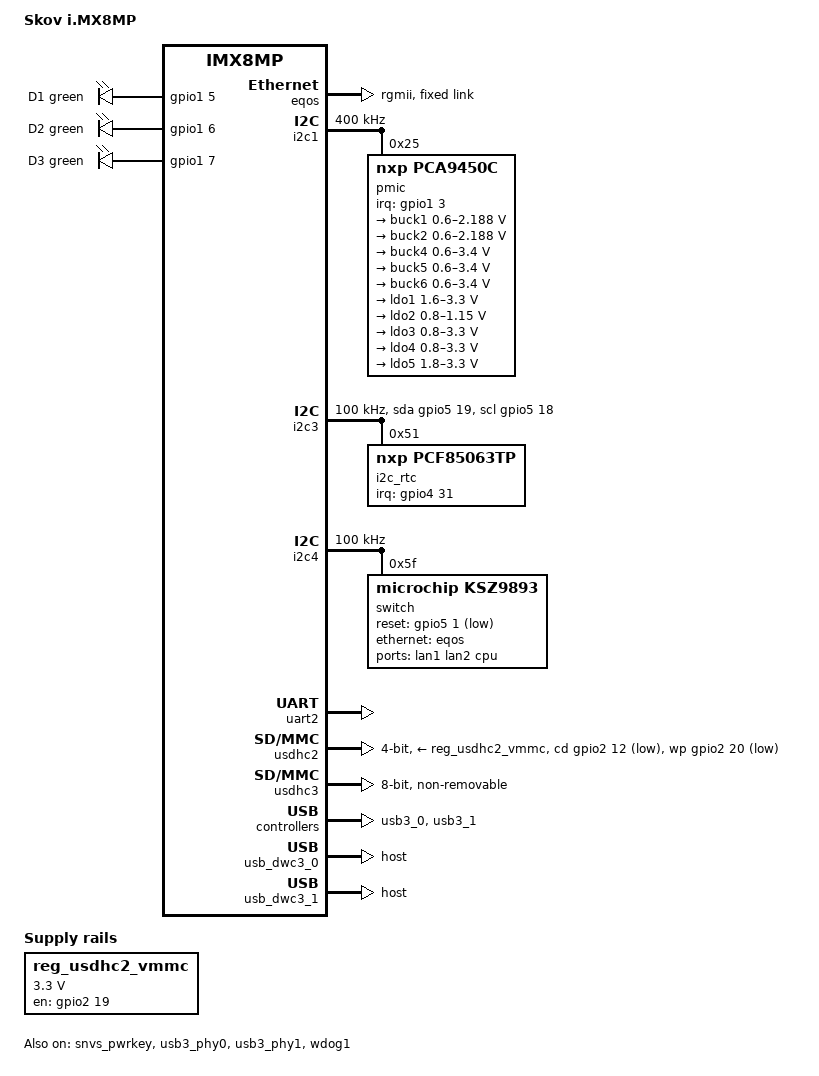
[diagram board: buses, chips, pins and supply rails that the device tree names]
// SPDX-License-Identifier: (GPL-2.0 OR MIT)

/dts-v1/;

#include <arm64/freescale/imx8mp.dtsi>
#include "imx8mp.dtsi"
#include <arm64/freescale/imx8mp-nominal.dtsi>

#include <dt-bindings/leds/common.h>

/ {
	model = "Skov i.MX8MP";
	compatible = "skov,imx8mp", "fsl,imx8mp";
	barebox,deep-probe;

	chosen {
		stdout-path = &uart2;

		environment-sd {
			compatible = "barebox,environment";
			device-path = &usdhc2, "partname:barebox-environment";
			status = "disabled";
		};

		environment-emmc {
			compatible = "barebox,environment";
			device-path = &usdhc3, "partname:barebox-environment";
			status = "disabled";
		};
	};

	aliases {
		ethernet0 = &eqos;
		ethernet1 = &lan1;
		ethernet2 = &lan2;
		state = &state;
		rtc0 = &i2c_rtc;
	};

	leds {
		compatible = "gpio-leds";
		pinctrl-names = "default";
		pinctrl-0 = <&pinctrl_gpio_led>;

		led-0 {
			label = "D1";
			color = <LED_COLOR_ID_GREEN>;
			gpios = <&gpio1 5 GPIO_ACTIVE_HIGH>;
			function = LED_FUNCTION_STATUS;
			default-state = "on";
			linux,default-trigger = "heartbeat";
		};

		led-1 {
			label = "D2";
			color = <LED_COLOR_ID_GREEN>;
			gpios = <&gpio1 6 GPIO_ACTIVE_HIGH>;
			default-state = "off";
		};

		led-2 {
			label = "D3";
			color = <LED_COLOR_ID_GREEN>;
			gpios = <&gpio1 7 GPIO_ACTIVE_HIGH>;
			default-state = "on";
		};
	};

	reserved-memory {
		#address-cells = <2>;
		#size-cells = <2>;
		ranges;

		/* Address will be determined by the bootloader */
		ramoops {
			compatible = "ramoops";
		};
	};

	reg_usdhc2_vmmc: regulator-usdhc2 {
		compatible = "regulator-fixed";
		pinctrl-names = "default";
		pinctrl-0 = <&pinctrl_reg_usdhc2_vmmc>;
		regulator-name = "VSD_3V3";
		regulator-min-microvolt = <3300000>;
		regulator-max-microvolt = <3300000>;
		gpio = <&gpio2 19 GPIO_ACTIVE_HIGH>;
		enable-active-high;
	};

	state: state {
		#address-cells = <1>;
		#size-cells = <1>;
		magic = <0x1c5b3f49>;
		compatible = "barebox,state";
		backend-type = "raw";
		backend = <&usdhc3>;
                /*
                 * barebox-state partition size: 1 MiB
                 * nr. of redundant copies:      4
                 * ==> max. stride size: 1 MiB / 4 = 256 KiB = 262144 Byte
                 *
                 * stride size:     262144 Byte
                 * raw-header:     -    16 Byte
                 * direct-storage: -     8 Byte
                 *                 ------------
                 * max state size:  262120 Byte
                 *                  ===========
                 */
		backend-stridesize = <0x40000>;

		bootstate {
			#address-cells = <1>;
			#size-cells = <1>;

			system0 {
				#address-cells = <1>;
				#size-cells = <1>;

				remaining_attempts@0 {
					reg = <0x0 0x4>;
					type = "uint32";
					default = <3>;
				};
				priority@4 {
					reg = <0x4 0x4>;
					type = "uint32";
					default = <30>;
				};
			};

			system1 {
				#address-cells = <1>;
				#size-cells = <1>;

				remaining_attempts@8 {
					reg = <0x8 0x4>;
					type = "uint32";
					default = <3>;
				};
				priority@C {
					reg = <0xC 0x4>;
					type = "uint32";
					default = <20>;
				};
			};

			last_chosen@10 {
				reg = <0x10 0x4>;
				type = "uint32";
			};
		};

		display {
			#address-cells = <1>;
			#size-cells = <1>;

			xres@14 {
				reg = <0x14 0x4>;
				type = "uint32";
				default = <0>;
			};

			yres@18 {
				reg = <0x18 0x4>;
				type = "uint32";
				default = <0>;
			};

			brightness@1C {
				reg = <0x1C 0x1>;
				type = "uint8";
				default = <8>;
			};

			external@1D {
				reg = <0x1D 0x1>;
				type = "uint8";
				default = <0>;
			};
		};

		ethaddr {
			#address-cells = <1>;
			#size-cells = <1>;

			eth2@1e {
				reg = <0x1E 0x6>;
				type = "mac";
				default = [00 11 22 33 44 55];
			};
		};
	};
};

&A53_0 {
	cpu-supply = <&buck2>;
};

&A53_1 {
	cpu-supply = <&buck2>;
};

&A53_2 {
	cpu-supply = <&buck2>;
};

&A53_3 {
	cpu-supply = <&buck2>;
};

&eqos {
	pinctrl-names = "default";
	pinctrl-0 = <&pinctrl_eqos>;
	phy-connection-type = "rgmii";
	status = "okay";

	fixed-link {
		speed = <1000>;
		full-duplex;
	};
};

&i2c1 {
	clock-frequency = <400000>;
	pinctrl-names = "default";
	pinctrl-0 = <&pinctrl_i2c1>;
	status = "okay";

	pmic@25 {
		compatible = "nxp,pca9450c";
		reg = <0x25>;
		pinctrl-names = "default";
		pinctrl-0 = <&pinctrl_pmic>;
		interrupt-parent = <&gpio1>;
		interrupts = <3 IRQ_TYPE_EDGE_RISING>;
		reset-source-priority = <500>;

		regulators {
			buck1: BUCK1 {
				regulator-name = "BUCK1";
				regulator-min-microvolt = <600000>;
				regulator-max-microvolt = <2187500>;
				regulator-boot-on;
				regulator-always-on;
				regulator-ramp-delay = <3125>;
			};

			buck2: BUCK2 {
				regulator-name = "BUCK2";
				regulator-min-microvolt = <600000>;
				regulator-max-microvolt = <2187500>;
				regulator-boot-on;
				regulator-always-on;
				regulator-ramp-delay = <3125>;
				nxp,dvs-run-voltage = <950000>;
				nxp,dvs-standby-voltage = <850000>;
			};

			buck4: BUCK4 {
				regulator-name = "BUCK4";
				regulator-min-microvolt = <600000>;
				regulator-max-microvolt = <3400000>;
				regulator-boot-on;
				regulator-always-on;
			};

			buck5: BUCK5 {
				regulator-name = "BUCK5";
				regulator-min-microvolt = <600000>;
				regulator-max-microvolt = <3400000>;
				regulator-boot-on;
				regulator-always-on;
			};

			buck6: BUCK6 {
				regulator-name = "BUCK6";
				regulator-min-microvolt = <600000>;
				regulator-max-microvolt = <3400000>;
				regulator-boot-on;
				regulator-always-on;
			};

			ldo1: LDO1 {
				regulator-name = "LDO1";
				regulator-min-microvolt = <1600000>;
				regulator-max-microvolt = <3300000>;
				regulator-boot-on;
				regulator-always-on;
			};

			ldo2: LDO2 {
				regulator-name = "LDO2";
				regulator-min-microvolt = <800000>;
				regulator-max-microvolt = <1150000>;
				regulator-boot-on;
				regulator-always-on;
			};

			ldo3: LDO3 {
				regulator-name = "LDO3";
				regulator-min-microvolt = <800000>;
				regulator-max-microvolt = <3300000>;
				regulator-boot-on;
				regulator-always-on;
			};

			ldo4: LDO4 {
				regulator-name = "LDO4";
				regulator-min-microvolt = <800000>;
				regulator-max-microvolt = <3300000>;
				regulator-boot-on;
				regulator-always-on;
			};

			ldo5: LDO5 {
				regulator-name = "LDO5";
				regulator-min-microvolt = <1800000>;
				regulator-max-microvolt = <3300000>;
				regulator-boot-on;
				regulator-always-on;
			};
		};
	};
};

&i2c3 {
	clock-frequency = <100000>;
	pinctrl-names = "default", "gpio";
	pinctrl-0 = <&pinctrl_i2c3>;
	pinctrl-1 = <&pinctrl_i2c3_gpio>;
	scl-gpios = <&gpio5 18 (GPIO_ACTIVE_HIGH | GPIO_OPEN_DRAIN)>;
	sda-gpios = <&gpio5 19 (GPIO_ACTIVE_HIGH | GPIO_OPEN_DRAIN)>;
	status = "okay";

	i2c_rtc: rtc@51 {
		compatible = "nxp,pcf85063tp";
		reg = <0x51>;
		pinctrl-names = "default";
		pinctrl-0 = <&pinctrl_rtc>;
		interrupts-extended = <&gpio4 31 IRQ_TYPE_EDGE_FALLING>;
		quartz-load-femtofarads = <12500>;
	};
};

&i2c4 {
	clock-frequency = <100000>;
	pinctrl-names = "default";
	pinctrl-0 = <&pinctrl_i2c4>;
	status = "okay";

	switch@5f {
		compatible = "microchip,ksz9893";
		pinctrl-names = "default";
		pinctrl-0 = <&pinctrl_switch>;
		reset-gpios = <&gpio5 1 GPIO_ACTIVE_LOW>;
		reg = <0x5f>;

		ethernet-ports {
			#address-cells = <1>;
			#size-cells = <0>;

			lan1: port@0 {
				reg = <0>;
				phy-mode = "internal";
				label = "lan1";
				nvmem-cells = <&eth_mac1>;
				nvmem-cell-names = "mac-address";
			};

			lan2: port@1 {
				reg = <1>;
				phy-mode = "internal";
				label = "lan2";
				nvmem-cells = <&eth_mac2>;
				nvmem-cell-names = "mac-address";
			};

			port@2 {
				reg = <2>;
				label = "cpu";
				ethernet = <&eqos>;
				/* 2ns rgmii-rxid is implemented on PCB.
				 * Switch should add only rgmii-txid.
				 */
				phy-mode = "rgmii-txid";

				fixed-link {
					speed = <1000>;
					full-duplex;
				};
			};
		};
	};
};

&snvs_pwrkey {
	status = "okay";
};

&uart2 {
	/* console */
	pinctrl-names = "default";
	pinctrl-0 = <&pinctrl_uart2>;
	status = "okay";
};

/* SD Card */
&usdhc2 {
	pinctrl-names = "default", "state_100mhz", "state_200mhz";
	pinctrl-0 = <&pinctrl_usdhc2>, <&pinctrl_usdhc2_gpio>;
	pinctrl-1 = <&pinctrl_usdhc2_100mhz>, <&pinctrl_usdhc2_gpio>;
	pinctrl-2 = <&pinctrl_usdhc2_200mhz>, <&pinctrl_usdhc2_gpio>;
	cd-gpios = <&gpio2 12 GPIO_ACTIVE_LOW>;
	wp-gpios = <&gpio2 20 GPIO_ACTIVE_LOW>;
	vmmc-supply = <&reg_usdhc2_vmmc>;
	bus-width = <4>;
	status = "okay";
};

/* eMMC */
&usdhc3 {
	assigned-clocks = <&clk IMX8MP_CLK_USDHC3>;
	assigned-clock-rates = <400000000>;
	pinctrl-names = "default", "state_100mhz", "state_200mhz";
	pinctrl-0 = <&pinctrl_usdhc3>;
	pinctrl-1 = <&pinctrl_usdhc3_100mhz>;
	pinctrl-2 = <&pinctrl_usdhc3_200mhz>;
	bus-width = <8>;
	no-sd;
	no-sdio;
	non-removable;
	status = "okay";
};

&usb3_phy0 {
	status = "okay";
};

&usb3_0 {
	status = "okay";
};

&usb_dwc3_0 {
	dr_mode = "host";
	status = "okay";
};

&usb3_phy1 {
	status = "okay";
};

&usb3_1 {
	status = "okay";
};

&usb_dwc3_1 {
	dr_mode = "host";
	status = "okay";
};

&wdog1 {
	pinctrl-names = "default";
	pinctrl-0 = <&pinctrl_wdog>;
	fsl,ext-reset-output;
	status = "okay";
};

&iomuxc {
	pinctrl-names = "default";
	pinctrl-0 = <&pinctrl_hog>;

	pinctrl_hog: hoggrp {
		fsl,pins = <
			/* varaint id */
			MX8MP_IOMUXC_GPIO1_IO08__GPIO1_IO08				0x100
			MX8MP_IOMUXC_GPIO1_IO09__GPIO1_IO09				0x100
			MX8MP_IOMUXC_GPIO1_IO10__GPIO1_IO10				0x100
			MX8MP_IOMUXC_GPIO1_IO11__GPIO1_IO11				0x100
			MX8MP_IOMUXC_GPIO1_IO12__GPIO1_IO12				0x100
			MX8MP_IOMUXC_GPIO1_IO13__GPIO1_IO13				0x100
			MX8MP_IOMUXC_GPIO1_IO14__GPIO1_IO14				0x100
			MX8MP_IOMUXC_GPIO1_IO15__GPIO1_IO15				0x100
		>;
	};

	pinctrl_eqos: eqosgrp {
		fsl,pins = <
			MX8MP_IOMUXC_ENET_RD0__ENET_QOS_RGMII_RD0			0x91
			MX8MP_IOMUXC_ENET_RD1__ENET_QOS_RGMII_RD1			0x91
			MX8MP_IOMUXC_ENET_RD2__ENET_QOS_RGMII_RD2			0x91
			MX8MP_IOMUXC_ENET_RD3__ENET_QOS_RGMII_RD3			0x91
			MX8MP_IOMUXC_ENET_RXC__CCM_ENET_QOS_CLOCK_GENERATE_RX_CLK	0x91
			MX8MP_IOMUXC_ENET_RX_CTL__ENET_QOS_RGMII_RX_CTL			0x91
			MX8MP_IOMUXC_ENET_TD0__ENET_QOS_RGMII_TD0			0x1f
			MX8MP_IOMUXC_ENET_TD1__ENET_QOS_RGMII_TD1			0x1f
			MX8MP_IOMUXC_ENET_TD2__ENET_QOS_RGMII_TD2			0x1f
			MX8MP_IOMUXC_ENET_TD3__ENET_QOS_RGMII_TD3			0x1f
			MX8MP_IOMUXC_ENET_TX_CTL__ENET_QOS_RGMII_TX_CTL			0x1f
			MX8MP_IOMUXC_ENET_TXC__CCM_ENET_QOS_CLOCK_GENERATE_TX_CLK	0x1f
		>;
	};

	pinctrl_gpio_led: gpioledgrp {
		fsl,pins = <
			MX8MP_IOMUXC_GPIO1_IO05__GPIO1_IO05				0x19
			MX8MP_IOMUXC_GPIO1_IO06__GPIO1_IO06				0x19
			MX8MP_IOMUXC_GPIO1_IO07__GPIO1_IO07				0x19
		>;
	};

	pinctrl_i2c1: i2c1grp {
		fsl,pins = <
			MX8MP_IOMUXC_I2C1_SCL__I2C1_SCL					0x400001c2
			MX8MP_IOMUXC_I2C1_SDA__I2C1_SDA					0x400001c2
		>;
	};

	pinctrl_i2c3: i2c3grp {
		fsl,pins = <
			MX8MP_IOMUXC_I2C3_SCL__I2C3_SCL				0x400001c2
			MX8MP_IOMUXC_I2C3_SDA__I2C3_SDA				0x400001c2
		>;
	};

	pinctrl_i2c3_gpio: i2c3gpiogrp {
		fsl,pins = <
			MX8MP_IOMUXC_I2C3_SCL__GPIO5_IO18				0x400001c2
			MX8MP_IOMUXC_I2C3_SDA__GPIO5_IO19				0x400001c2
		>;
	};

	pinctrl_i2c4: i2c4grp {
		fsl,pins = <
			MX8MP_IOMUXC_I2C4_SCL__I2C4_SCL					0x400001c3
			MX8MP_IOMUXC_I2C4_SDA__I2C4_SDA					0x400001c3
		>;
	};

	pinctrl_rtc: rtcgrp {
		fsl,pins = <
			MX8MP_IOMUXC_SAI3_TXFS__GPIO4_IO31			0x41
		>;
	};

	pinctrl_switch: switchgrp {
		fsl,pins = <
			MX8MP_IOMUXC_SAI3_TXD__GPIO5_IO01				0x41
		>;
	};

	pinctrl_pmic: pmicirqgrp {
		fsl,pins = <
			MX8MP_IOMUXC_GPIO1_IO03__GPIO1_IO03				0x41
		>;
	};

	pinctrl_reg_usdhc2_vmmc: regusdhc2vmmcgrp {
		fsl,pins = <
			MX8MP_IOMUXC_SD2_RESET_B__GPIO2_IO19				0x41
		>;
	};

	pinctrl_uart2: uart2grp {
		fsl,pins = <
			MX8MP_IOMUXC_UART2_RXD__UART2_DCE_RX				0x14f
			MX8MP_IOMUXC_UART2_TXD__UART2_DCE_TX				0x14f
		>;
	};

	pinctrl_usdhc2: usdhc2grp {
		fsl,pins = <
			MX8MP_IOMUXC_SD2_CLK__USDHC2_CLK				0x190
			MX8MP_IOMUXC_SD2_CMD__USDHC2_CMD				0x1d0
			MX8MP_IOMUXC_SD2_DATA0__USDHC2_DATA0				0x1d0
			MX8MP_IOMUXC_SD2_DATA1__USDHC2_DATA1				0x1d0
			MX8MP_IOMUXC_SD2_DATA2__USDHC2_DATA2				0x1d0
			MX8MP_IOMUXC_SD2_DATA3__USDHC2_DATA3				0x1d0
		>;
	};

	pinctrl_usdhc2_100mhz: usdhc2-100mhzgrp {
		fsl,pins = <
			MX8MP_IOMUXC_SD2_CLK__USDHC2_CLK				0x194
			MX8MP_IOMUXC_SD2_CMD__USDHC2_CMD				0x1d4
			MX8MP_IOMUXC_SD2_DATA0__USDHC2_DATA0				0x1d4
			MX8MP_IOMUXC_SD2_DATA1__USDHC2_DATA1				0x1d4
			MX8MP_IOMUXC_SD2_DATA2__USDHC2_DATA2				0x1d4
			MX8MP_IOMUXC_SD2_DATA3__USDHC2_DATA3				0x1d4
		>;
	};

	pinctrl_usdhc2_200mhz: usdhc2-200mhzgrp {
		fsl,pins = <
			MX8MP_IOMUXC_SD2_CLK__USDHC2_CLK				0x196
			MX8MP_IOMUXC_SD2_CMD__USDHC2_CMD				0x1d6
			MX8MP_IOMUXC_SD2_DATA0__USDHC2_DATA0				0x1d6
			MX8MP_IOMUXC_SD2_DATA1__USDHC2_DATA1				0x1d6
			MX8MP_IOMUXC_SD2_DATA2__USDHC2_DATA2				0x1d6
			MX8MP_IOMUXC_SD2_DATA3__USDHC2_DATA3				0x1d6
		>;
	};

	pinctrl_usdhc2_gpio: usdhc2gpiogrp {
		fsl,pins = <
			MX8MP_IOMUXC_SD2_CD_B__GPIO2_IO12				0x1c4
			MX8MP_IOMUXC_SD2_WP__GPIO2_IO20					0x1c4
		>;
	};

	pinctrl_usdhc3: usdhc3grp {
		fsl,pins = <
			MX8MP_IOMUXC_NAND_WE_B__USDHC3_CLK				0x190
			MX8MP_IOMUXC_NAND_WP_B__USDHC3_CMD				0x1d0
			MX8MP_IOMUXC_NAND_DATA04__USDHC3_DATA0				0x1d0
			MX8MP_IOMUXC_NAND_DATA05__USDHC3_DATA1				0x1d0
			MX8MP_IOMUXC_NAND_DATA06__USDHC3_DATA2				0x1d0
			MX8MP_IOMUXC_NAND_DATA07__USDHC3_DATA3				0x1d0
			MX8MP_IOMUXC_NAND_RE_B__USDHC3_DATA4				0x1d0
			MX8MP_IOMUXC_NAND_CE2_B__USDHC3_DATA5				0x1d0
			MX8MP_IOMUXC_NAND_CE3_B__USDHC3_DATA6				0x1d0
			MX8MP_IOMUXC_NAND_CLE__USDHC3_DATA7				0x1d0
			MX8MP_IOMUXC_NAND_CE1_B__USDHC3_STROBE				0x190
		>;
	};

	pinctrl_usdhc3_100mhz: usdhc3-100mhzgrp {
		fsl,pins = <
			MX8MP_IOMUXC_NAND_WE_B__USDHC3_CLK				0x194
			MX8MP_IOMUXC_NAND_WP_B__USDHC3_CMD				0x1d4
			MX8MP_IOMUXC_NAND_DATA04__USDHC3_DATA0				0x1d4
			MX8MP_IOMUXC_NAND_DATA05__USDHC3_DATA1				0x1d4
			MX8MP_IOMUXC_NAND_DATA06__USDHC3_DATA2				0x1d4
			MX8MP_IOMUXC_NAND_DATA07__USDHC3_DATA3				0x1d4
			MX8MP_IOMUXC_NAND_RE_B__USDHC3_DATA4				0x1d4
			MX8MP_IOMUXC_NAND_CE2_B__USDHC3_DATA5				0x1d4
			MX8MP_IOMUXC_NAND_CE3_B__USDHC3_DATA6				0x1d4
			MX8MP_IOMUXC_NAND_CLE__USDHC3_DATA7				0x1d4
			MX8MP_IOMUXC_NAND_CE1_B__USDHC3_STROBE				0x194
		>;
	};

	pinctrl_usdhc3_200mhz: usdhc3-200mhzgrp {
		fsl,pins = <
			MX8MP_IOMUXC_NAND_WE_B__USDHC3_CLK				0x196
			MX8MP_IOMUXC_NAND_WP_B__USDHC3_CMD				0x1d6
			MX8MP_IOMUXC_NAND_DATA04__USDHC3_DATA0				0x1d6
			MX8MP_IOMUXC_NAND_DATA05__USDHC3_DATA1				0x1d6
			MX8MP_IOMUXC_NAND_DATA06__USDHC3_DATA2				0x1d6
			MX8MP_IOMUXC_NAND_DATA07__USDHC3_DATA3				0x1d6
			MX8MP_IOMUXC_NAND_RE_B__USDHC3_DATA4				0x1d6
			MX8MP_IOMUXC_NAND_CE2_B__USDHC3_DATA5				0x1d6
			MX8MP_IOMUXC_NAND_CE3_B__USDHC3_DATA6				0x1d6
			MX8MP_IOMUXC_NAND_CLE__USDHC3_DATA7				0x1d6
			MX8MP_IOMUXC_NAND_CE1_B__USDHC3_STROBE				0x196
		>;
	};

	pinctrl_wdog: wdoggrp {
		fsl,pins = <
			MX8MP_IOMUXC_GPIO1_IO02__WDOG1_WDOG_B				0xc6
		>;
	};
};
